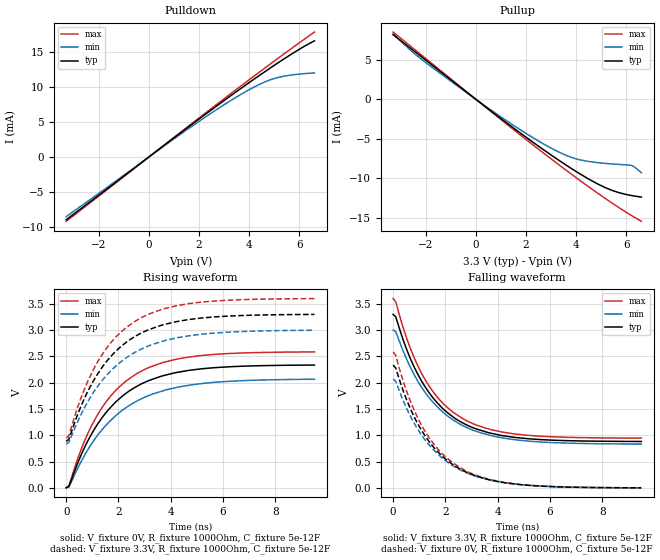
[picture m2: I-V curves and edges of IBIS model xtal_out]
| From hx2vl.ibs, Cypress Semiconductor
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[Model]   xtal_out
Model_type   Output
Polarity   Inverting
Vmeas = 1.65
Vref = 1.65
Cref = 2pF
Rref = 1000
|   typ   min   max
C_comp   0.01pF   0.008pF   0.012pF
[Voltage Range]   3.3   3   3.6
[Temperature Range]   25   100   -20
[Pullup Reference]   3.3   3   3.6
[Pulldown Reference]   0   0   0
[Power Clamp Reference]   3.3   3   3.6
[GND Clamp Reference]   0   0   0
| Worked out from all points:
|   slope of the pulldown table from 0 to 0.495 V, typ, clamps not added: 364 ohm
|   slope of the pullup table from 0 to 0.495 V, typ, clamps not added: 409 ohm
|   falling waveform, V_fixture 3.3V, R_fixture 1000Ohm, C_fixture 5e-12F: 20-80 % time 1.86ns typ, 1.96ns min, 1.83ns max; typ from 3.3 V to 0.883 V
|   rising waveform, V_fixture 0V, R_fixture 1000Ohm, C_fixture 5e-12F: 20-80 % time 2.06ns typ, 2.23ns min, 1.98ns max; typ from 0 V to 2.33 V
|   rising waveform, V_fixture 3.3V, R_fixture 1000Ohm, C_fixture 5e-12F: 20-80 % time 2.01ns typ, 2.14ns min, 1.95ns max; typ from 0.881 V to 3.3 V
|   falling waveform, V_fixture 0V, R_fixture 1000Ohm, C_fixture 5e-12F: 20-80 % time 1.84ns typ, 1.92ns min, 1.82ns max; typ from 2.34 V to 0.002 V
[Pulldown]
|   Voltage   I(typ)   I(min)   I(max)
-3.303V   -9.012mA   -8.571mA   -9.234mA
1.491V    4.073mA    3.845mA    4.178mA
2.709V    7.325mA    6.815mA    7.55mA
3.703V    9.907mA    9.039mA    10.26mA
4.422V    11.72mA    10.43mA    12.2mA
4.926V    12.96mA    11.17mA    13.55mA
5.545V    14.42mA    11.68mA    15.18mA
6.607V    16.66mA    12.06mA    17.92mA
[Pullup]
|   Voltage   I(typ)   I(min)   I(max)
-3.303V   8.176mA    8.231mA    8.498mA
-2.373V   5.87mA     5.556mA    6.111mA
-541.2mV  1.336mA    1.24mA     1.395mA
1.491V    -3.594mA   -3.265mA   -3.791mA
2.709V    -6.385mA   -5.648mA   -6.809mA
3.419V    -7.923mA   -6.816mA   -8.519mA
3.841V    -8.796mA   -7.361mA   -9.518mA
4.902V    -10.75mA   -8.012mA   -11.94mA
5.442V    -11.51mA   -8.165mA   -13.11mA
6.177V    -12.13mA   -8.328mA   -14.61mA
6.339V    -12.22mA   -8.566mA   -14.92mA
6.607V    -12.35mA   -9.262mA   -15.4mA
[Ramp]
R_load = 1000
|   typ   min   max
dV/dt_r   1.40023/2.05711e-09   1.23843/2.23017e-09   1.55012/1.98057e-09
dV/dt_f   1.44981/1.8635e-09   1.29905/1.95904e-09   1.59153/1.83123e-09
[Falling Waveform]
V_fixture = 3.3V
V_fixture_min = 3V
V_fixture_max = 3.6V
R_fixture = 1000Ohm
C_fixture = 5e-12F
|   Time   V(typ)   V(min)   V(max)
0s        3.3V       3V         3.6V
100ps     3.256V     2.973V     3.543V
400ps     2.794V     2.585V     3.023V
700ps     2.415V     2.255V     2.603V
1.2ns     1.942V     1.834V     2.082V
1.9ns     1.509V     1.444V     1.612V
2.7ns     1.227V     1.177V     1.308V
3.7ns     1.045V     1.002V     1.114V
4.7ns     958.2mV    914.7mV    1.024V
9.5ns     883.5mV    834.8mV    947.2mV
[Rising Waveform]
V_fixture = 0V
V_fixture_min = 0V
V_fixture_max = 0V
R_fixture = 1000Ohm
C_fixture = 5e-12F
|   Time   V(typ)   V(min)   V(max)
0s        88.11uV    64.56uV    122uV
100ps     28.14mV    18.7mV     34.91mV
500ps     545mV      432.3mV    638.2mV
800ps     867.9mV    703.7mV    1.005V
1.3ns     1.283V     1.063V     1.471V
2ns       1.679V     1.416V     1.905V
2.9ns     1.982V     1.698V     2.226V
3.7ns     2.13V      1.844V     2.382V
5.2ns     2.263V     1.983V     2.516V
9.5ns     2.334V     2.064V     2.584V
[Rising Waveform]
V_fixture = 3.3V
V_fixture_min = 3V
V_fixture_max = 3.6V
R_fixture = 1000Ohm
C_fixture = 5e-12F
|   Time   V(typ)   V(min)   V(max)
0s        881.4mV    832.2mV    945.2mV
100ps     921.4mV    864.5mV    990.2mV
400ps     1.345V     1.217V     1.476V
700ps     1.705V     1.525V     1.88V
1.3ns     2.238V     1.993V     2.475V
2ns       2.644V     2.358V     2.917V
2.9ns     2.95V      2.643V     3.242V
3.7ns     3.098V     2.787V     3.398V
5.2ns     3.229V     2.92V      3.531V
9.5ns     3.296V     2.995V     3.597V
[Falling Waveform]
|Gnd
V_fixture = 0V
V_fixture_min = 0V
V_fixture_max = 0V
R_fixture = 1000Ohm
C_fixture = 5e-12F
|   Time   V(typ)   V(min)   V(max)
0s        2.338V     2.07V      2.587V
100ps     2.281V     2.029V     2.52V
400ps     1.829V     1.645V     2.01V
700ps     1.463V     1.327V     1.601V
1.2ns     1.008V     927.5mV    1.095V
1.9ns     593.3mV    560.8mV    640mV
2.7ns     324.5mV    312.7mV    347.5mV
3.7ns     152.4mV    151.8mV    160.9mV
4.7ns     71.32mV    72.99mV    74.4mV
9.5ns     1.965mV    2.231mV    1.967mV
